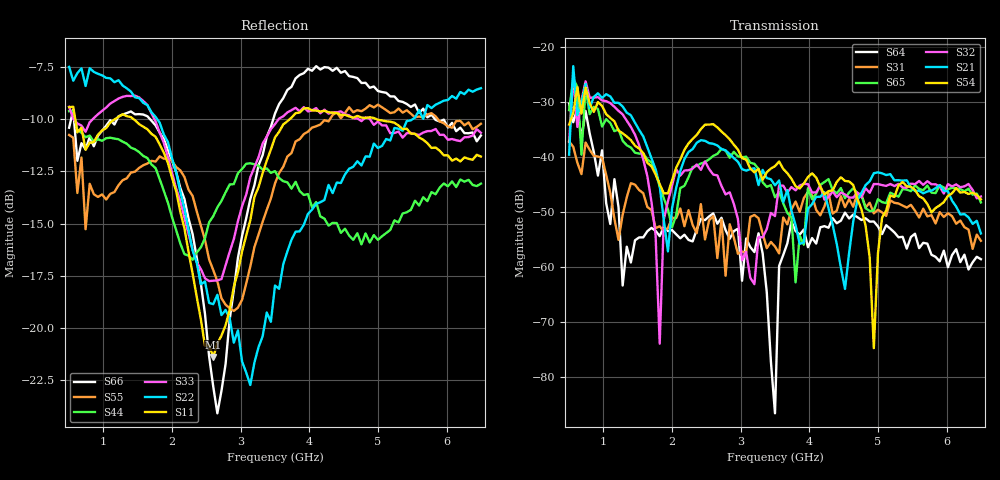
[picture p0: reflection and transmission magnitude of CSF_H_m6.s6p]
!Keysight Technologies,M9804A,MY58100912,A.14.10.03
!Date: Thursday, April 27, 2023 10:28:33
!Correction: S11(C  6-Port  )
!S12(C  6-Port  )
!S13(C  6-Port  )
!S14(C  6-Port  )
!S15(C  6-Port  )
!S16(C  6-Port  )
!S21(C  6-Port  )
!S22(C  6-Port  )
!S23(C  6-Port  )
!S24(C  6-Port  )
!S25(C  6-Port  )
!S26(C  6-Port  )
!S31(C  6-Port  )
!S32(C  6-Port  )
!S33(C  6-Port  )
!S34(C  6-Port  )
!S35(C  6-Port  )
!S36(C  6-Port  )
!S41(C  6-Port  )
!S42(C  6-Port  )
!S43(C  6-Port  )
!S44(C  6-Port  )
!S45(C  6-Port  )
!S46(C  6-Port  )
!S51(C  6-Port  )
!S52(C  6-Port  )
!S53(C  6-Port  )
!S54(C  6-Port  )
!S55(C  6-Port  )
!S56(C  6-Port  )
!S61(C  6-Port  )
!S62(C  6-Port  )
!S63(C  6-Port  )
!S64(C  6-Port  )
!S65(C  6-Port  )
!S66(C  6-Port  )
!S6P File: Measurement: :
# Hz S  RI  R 50
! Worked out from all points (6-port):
!   101 points, 500 MHz to 6.5 GHz, reference 50 ohm
!   strongest paths, dB at 500 MHz, 2 GHz, 3.5 GHz, 5 GHz, 6.5 GHz:
!     S54: -34.0, -44.2, -41.6, -57.5, -47.6
!     S21: -39.5, -49.2, -45.1, -42.7, -53.9
!     S32: -37.2, -45.1, -50.7, -44.9, -47.1
!     S65: -31.4, -52.7, -47.3, -47.6, -48.2
!     S31: -37.1, -51.0, -56.2, -49.5, -55.2
!     S64: -30.2, -53.2, -86.6, -52.6, -58.5
!   lowest |S11| = -21.4 dB at 2.6 GHz (marker M1), VSWR 1.19, Z = 42.4 + j2.18 ohm
!   |S11| at or under -10 dB: 589 MHz to 1.168 GHz (579.3 MHz wide, 65.9 % of centre); 1.439 GHz to 3.716 GHz (2.277 GHz wide, 88.3 % of centre); 4.978 GHz to end of sweep
